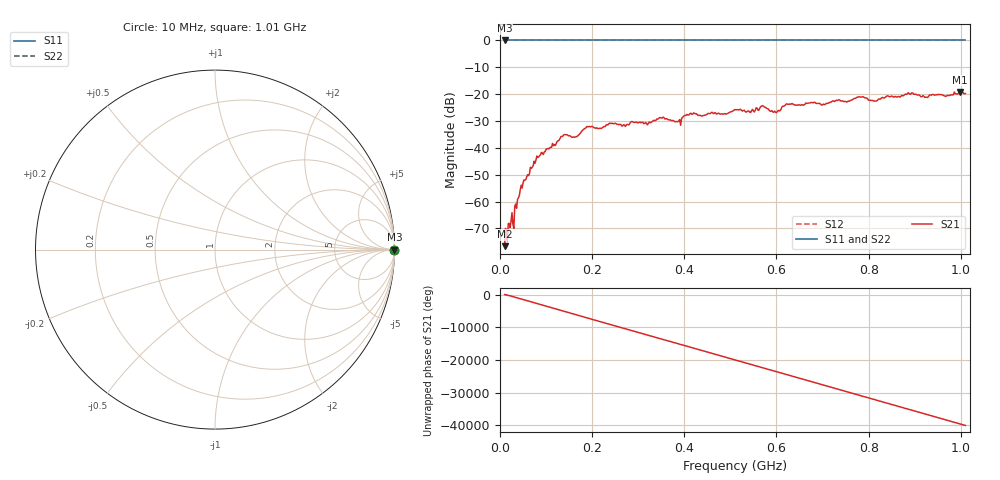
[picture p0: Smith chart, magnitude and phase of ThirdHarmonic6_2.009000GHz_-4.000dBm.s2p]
! 8/17/2025 12:07:31 AM
! C:\ANRITSUVNA\TEMP\TEMP.S2P
! CHANNEL.1
! TR.MEASUREMENT
! RAW.DATA
! RF.CORRECTION.OFF
! AVERAGING.OFF
! IF.BANDWIDTH: 5KHZ
! SWEEPTYPE:  FREQ.SWEEP(Linear)
! Reference Plane Port Info
! PORT:  PORT1  PORT2
! DISTANCE:  0  m  0  m
! TIME:  0  s  0  s
! PHASE.OFFSET:  0  deg.  0  deg.
! LOSS:  0  dB  0  dB
! REF.LOSS:  0  dB  0  dB
! REF.FREQ:  0  Hz  0  Hz
! Power Info
! POWER:  -20  dBm  -20  dBm
! EFF.POWER:  -20  dBm  -20  dBm
! SOURCE.ATTEN:  0  dB  0  dB
! TEST.ATTEN:  0  dB  0  dB
# GHZ S RI R 50.0
! FREQ.GHZ  S11RE  S11IM  S21RE  S21IM  S12RE  S12IM  S22RE  S22IM
!; PortSelection: Port_12
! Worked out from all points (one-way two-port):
!   501 points, 10 MHz to 1.01 GHz, reference 50 ohm
!   highest |S21| = -19.18 dB at 998 MHz (marker M1); lowest = -76.6 dB at 10 MHz (marker M2)
!   lowest |S11| = 0.0 dB at 10 MHz (marker M3)
!   |S11| at or under -10 dB: nowhere
!   |S22| runs from 0.0 to 0.0 dB; largest |S21 - S12| = 1.1
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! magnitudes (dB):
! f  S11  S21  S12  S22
! 10 MHz  0.0  -76.6  0.0  0.0
! 22 MHz  0.0  -69.7  0.0  0.0
! 26 MHz  0.0  -64.1  0.0  0.0
! 32 MHz  0.0  -61.8  0.0  0.0
! 36 MHz  0.0  -62.5  0.0  0.0
! 48 MHz  0.0  -55.0  0.0  0.0
! 78 MHz  0.0  -44.6  0.0  0.0
! 136 MHz  0.0  -35.7  0.0  0.0
! 164 MHz  0.0  -35.9  0.0  0.0
! 178 MHz  0.0  -33.7  0.0  0.0
! 344 MHz  0.0  -29.1  0.0  0.0
! 388 MHz  0.0  -29.9  0.0  0.0
! 416 MHz  0.0  -27.4  0.0  0.0
! 510 MHz  0.0  -25.8  0.0  0.0
! 570 MHz  0.0  -24.3  0.0  0.0
! 598 MHz  0.0  -26.7  0.0  0.0
! 624 MHz  0.0  -23.7  0.0  0.0
! 678 MHz  0.0  -23.2  0.0  0.0
! 814 MHz  0.0  -22.5  0.0  0.0
! 844 MHz  0.0  -20.8  0.0  0.0
! 998 MHz  0.0  -19.2  0.0  0.0
! 1.01 GHz  0.0  -19.8  0.0  0.0
